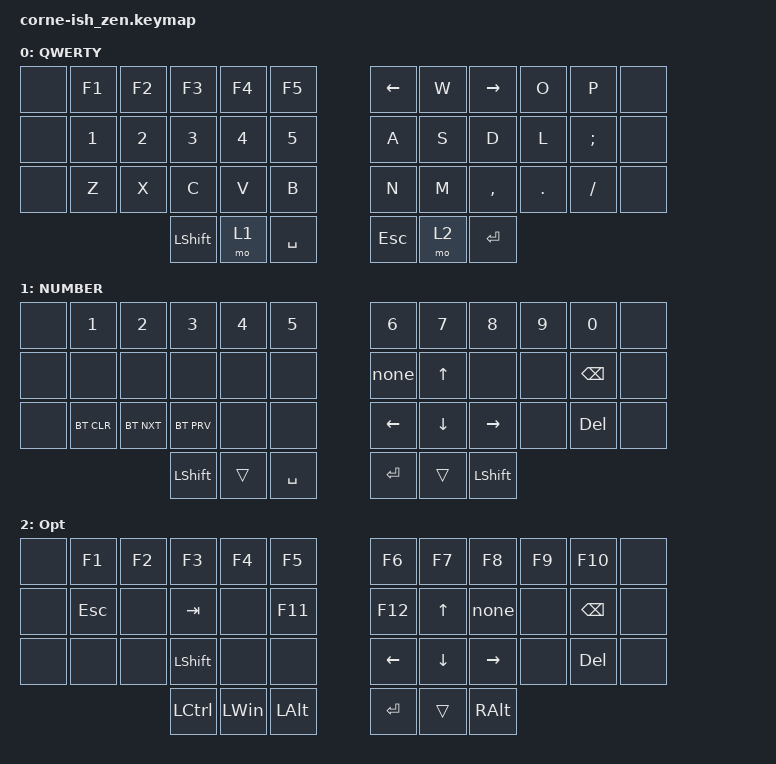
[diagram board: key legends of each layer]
/*
*
* Copyright (c) 2021 Darryl deHaan
* SPDX-License-Identifier: MIT
*
*/

#include <behaviors.dtsi>
#include <dt-bindings/zmk/keys.h>
#include <dt-bindings/zmk/bt.h>

/ {
        keymap {
                compatible = "zmk,keymap";

                default_layer {
                        label = "QWERTY";
// -----------------------------------------------------------------------------------------
// |       |  Q  |  W  |  E  |  R  |  T  |   |  Y  |  U   |  I  |  O  |  P  |     |
// |       |  A  |  S  |  D  | !F  |  G  |   |  H  | ! J  |  K  |  L  |  ;  |     |
// |       |  Z  |  X  |  C  |  V  |  B  |   |  N  |  M   |  ,  |  .  |  /  |     |
//                     |LSHFT| LWR | SPC |   | ENT | RSE  | LANG1|
                        bindings = <
   &none &kp F1 &kp F2 &kp F3 &kp F4 &kp F5   &kp LEFT &kp W  &kp RIGHT &kp O   &kp P    &none
   &none &kp 1  &kp 2  &kp 3  &kp 4  &kp 5    &kp A    &kp S  &kp D     &kp L   &kp SEMI &none
   &none &kp Z  &kp X  &kp C  &kp V  &kp B    &kp N    &kp M  &kp COMMA &kp DOT &kp FSLH &none
               &kp LSHFT &mo 1 &kp SPACE   &kp ESC &mo 2 &kp RET
                        >;
                };
                lower_layer {
                        label = "NUMBER";
// -----------------------------------------------------------------------------------------
// |       |  1  |  2  |  3  |  4  |  5  |   |  6  |  7  |  8  |  9  |  0  |      |
// |       |     |     |     | !   |     |   |     | !UP |     |     |BSPC |      |
// |       | BTCL| BTN | BTP |     |     |   | LFT | DWN | RGT |     | DEL |      |
//                     |LSHFT|     | SPC |   | ENT |     |LSHFT|
                        bindings = <
   &none &kp N1      &kp N2      &kp N3     &kp N4   &kp N5      &kp N6    &kp N7   &kp N8    &kp N9  &kp N0   &none
   &none &none       &none       &none      &none    &none       &kp none  &kp UP   &none     &none   &kp BSPC &none
   &none &bt BT_CLR  &bt BT_NXT  &bt BT_PRV &none    &none       &kp LEFT  &kp DOWN &kp RIGHT &none   &kp DEL  &none
                                 &kp LSHFT  &trans   &kp SPACE   &kp RET   &trans   &kp LSHFT
                        >;
                };

                raise_layer {
                        label = "Opt";
// -----------------------------------------------------------------------------------------
// |       |  F1 |  F2 |  F3 |  F4 |  F5 |   | F6  |  F7 |  F8 |  F9 | F10 |      |
// |       | ESC |     | TAB |     | F11 |   | F12 | !UP |     |     | BSPC|      |
// |       |     |     |LSHFT|     |     |   | LFT | DWN | RGT |     | DEL |      |
//                     |ctrl | win | Alt |   | ENT |     | ALT |
                        bindings = <
   &none &kp F1    &kp F2  &kp F3    &kp F4   &kp F5     &kp F6   &kp F7   &kp F8    &kp F9 &kp F10  &none
   &none &kp ESC   &none   &kp TAB   &none    &kp F11    &kp F12  &kp UP   &kp none  &none  &kp BSPC &none
   &none &none     &none   &kp LSHFT &none    &none      &kp LEFT &kp DOWN &kp RIGHT &none  &kp DEL  &none
                    	   &kp LCTRL &kp LWIN &kp LALT   &kp RET  &trans   &kp RALT
                        >;
                };
        };
};
